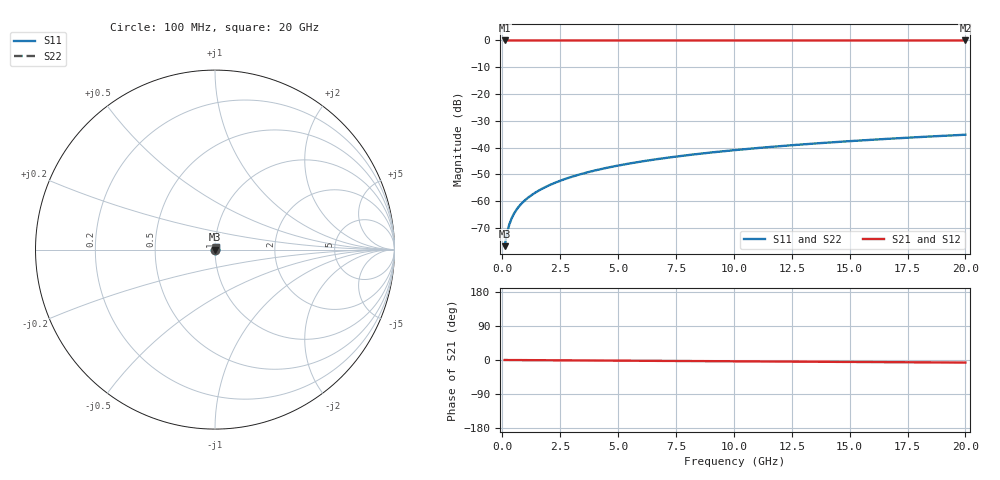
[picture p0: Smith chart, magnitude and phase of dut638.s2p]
! Touchstone file exported from HFSS 2026.1.0
!  File:  C:/ffzhzh/LocalFiles/Ansys_Project_Files/temp_train_TSV_638_1783026368_55676.aedt
!  Generated:  05:07:52 AM Jul  3, 2026
!  Design:  TSV
!  Project:  temp_train_TSV_638_1783026368_55676
! Variables:
!  h_bsmrdl = 2um
!  h_ox = 20um
!  h_rdl = 5um
!  h_sub = 62.21um
!  h_tmrdl = 5um
!  h_tsv = 62.21um
!  h_via = 3um
!  l_bsmrdl = 300um
!  l_sub = 423.5um
!  l_tmrdl = 200um
!  m_sub = 200um
!  pitch = 54.77um
!  r_tsv = 11.75um
!  s_tmrdl = 10um
!  w_bsmrdl = 18um
!  w_sub = 500um
!  w_tmrdl = 12um
!  x_tsv_center1 = 206um
!  x_tsv_center2 = 524um
!  x_tsv_center3 = 736um
!  x_tsv_center4 = 1054um
!  x_tsv_center5 = 1266um
!  x_tsv_center6 = 1584um
# GHz S MA R 50.000000
! Terminal data exported
! Port[1] = TSV1_1_T1
! Port[2] = TSV1_1_T2
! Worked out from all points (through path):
!   200 points, 100 MHz to 20 GHz, reference 50 ohm
!   highest |S21| = 0.00 dB at 100 MHz (marker M1); lowest = 0.0 dB at 20 GHz (marker M2)
!   lowest |S11| = -76.7 dB at 100 MHz (marker M3), VSWR 1.00, Z = 50 + j0.012 ohm
!   |S11| at or under -10 dB: start of sweep to end of sweep
!   |S22| runs from -76.7 to -35.2 dB; largest |S21 - S12| = 2.3e-15
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0.1  0.0001456 55.5  0.9999 -0.0  0.9999 -0.0  0.0001456 55.5
! Gamma 0 0 0 0
! Port Impedance 50 0 50 0
0.2  0.0002548 68.8  0.9999 -0.1  0.9999 -0.1  0.0002548 68.8
0.3  0.0003671 73.1  0.9999 -0.1  0.9999 -0.1  0.0003671 73.1
0.4  0.0004767 75.0  0.9999 -0.1  0.9999 -0.1  0.0004767 75.0
0.5  0.0005824 75.9  0.9999 -0.2  0.9999 -0.2  0.0005824 75.9
0.6  0.0006843 76.4  0.9998 -0.2  0.9998 -0.2  0.0006843 76.4
0.7  0.0007829 76.8  0.9998 -0.2  0.9998 -0.2  0.0007829 76.8
0.9  0.000973 77.5  0.9998 -0.3  0.9998 -0.3  0.000973 77.5
1.1  0.001157 78.2  0.9998 -0.4  0.9998 -0.4  0.001157 78.2
1.3  0.001338 78.8  0.9997 -0.5  0.9997 -0.5  0.001338 78.8
1.6  0.001608 79.7  0.9997 -0.6  0.9997 -0.6  0.001608 79.7
1.9  0.001878 80.4  0.9997 -0.7  0.9997 -0.7  0.001878 80.4
2.6  0.002506 81.5  0.9997 -0.9  0.9997 -0.9  0.002506 81.5
3.5  0.003311 82.2  0.9996 -1.2  0.9996 -1.2  0.003311 82.2
4.2  0.003934 82.5  0.9996 -1.4  0.9996 -1.4  0.003934 82.5
5  0.00464 82.7  0.9995 -1.7  0.9995 -1.7  0.00464 82.7
6.8  0.006214 82.7  0.9994 -2.3  0.9994 -2.3  0.006214 82.7
8.3  0.007512 82.6  0.9994 -2.8  0.9994 -2.8  0.007512 82.6
10.1  0.009061 82.4  0.9993 -3.4  0.9993 -3.4  0.009061 82.4
13.4  0.01188 81.8  0.9992 -4.6  0.9992 -4.6  0.01188 81.8
16.7  0.01468 81.1  0.9991 -5.7  0.9991 -5.7  0.01468 81.1
20  0.01745 80.2  0.9989 -6.8  0.9989 -6.8  0.01745 80.2
